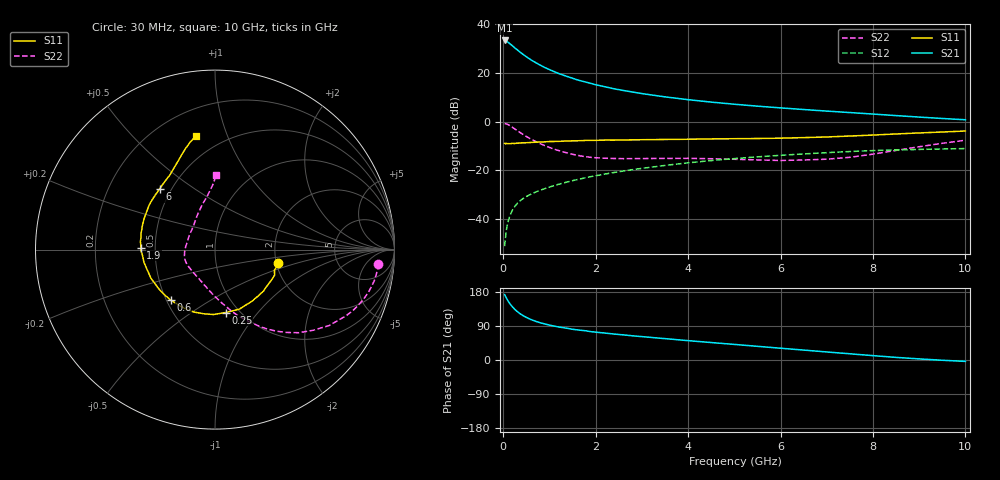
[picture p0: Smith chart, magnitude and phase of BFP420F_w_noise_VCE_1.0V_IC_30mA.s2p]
! Infineon Technologies  Discrete & RF Semiconductors
! BFP420F
! VCE =  1.0 V,  IC =  30 mA
! Common Emitter S-Parameters:  Sep 2011
# GHz  S  MA  R  50
!  f  S11  S21  S12  S22
! GHz  MAG  ANG  MAG  ANG  MAG  ANG  MAG  ANG
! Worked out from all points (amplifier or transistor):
!   54 points, 30 MHz to 10 GHz, reference 50 ohm
!   highest |S21| = 33.3 dB at 30 MHz (marker M1)
!   |S21| within 3 dB of that: start of sweep to 248 MHz
!   unconditionally stable (mu >= 1): 1.361 GHz to end of sweep
!   at 120 MHz: K = 0.36, MSG = 36.2 dB, |S12| = -40.1 dB
!   at 1.3 GHz: K = 0.99, MSG = 22.1 dB, |S12| = -25.2 dB
!   at 10 GHz: K = 1.21, MAG = 3.1 dB, |S12| = -11.0 dB
!   lowest NFmin = 1.81 dB at 450 MHz
!   S11 on the Smith chart (normalised r, x): 30 MHz: 2.04, -0.35; 250 MHz: 0.87, -0.70; 600 MHz: 0.53, -0.34; 1.9 GHz: 0.41, +0.01; 6 GHz: 0.43, +0.37; 10 GHz: 0.36, +0.78
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0.03  0.3586 -11.9  46.1 172.6  0.0028 86.0  0.9134 -5.0
0.07  0.358 -27.5  44.54 163.4  0.006 82.0  0.8966 -13.0
0.12  0.3532 -44.5  41.34 152.8  0.0099 78.1  0.852 -21.9
0.15  0.3541 -53.6  39.09 147.7  0.0122 75.5  0.8196 -26.6
0.2  0.3584 -67.9  35.74 140.3  0.0154 72.0  0.7642 -33.6
0.25  0.3557 -80.3  32.52 133.7  0.0181 69.4  0.7079 -39.4
0.35  0.3631 -100.3  27.29 123.4  0.0232 65.5  0.6107 -49.1
0.4  0.367 -108.3  25.04 119.3  0.0253 64.5  0.5692 -53.0
0.5  0.3688 -121.1  21.37 112.4  0.0291 62.8  0.4964 -59.7
0.6  0.3744 -131.4  18.46 106.8  0.0326 62.0  0.4378 -65.4
0.8  0.3826 -145.8  14.39 98.2  0.0392 61.6  0.354 -75.1
1  0.391 -155.8  11.65 92.2  0.0456 61.7  0.2956 -83.5
1.3  0.3976 -166.8  8.955 85.2  0.0552 61.6  0.2391 -95.4
1.7  0.4075 -177.0  6.777 78.2  0.068 61.1  0.196 -111.3
1.9  0.4138 178.5  6.065 74.8  0.0747 60.7  0.1852 -118.8
2.4  0.4177 170.7  4.707 68.4  0.0907 59.0  0.1755 -134.2
3.5  0.4309 156.6  3.217 56.4  0.1266 54.0  0.1763 -154.5
5.5  0.4508 137.4  2.075 36.1  0.1897 41.0  0.1642 174.1
6  0.458 132.4  1.912 31.1  0.2042 37.6  0.1598 163.5
7  0.4848 121.4  1.644 21.2  0.231 30.3  0.1698 139.7
8.5  0.5588 109.5  1.329 6.9  0.263 18.6  0.2573 106.5
10  0.6418 99.6  1.092 -3.7  0.2808 9.5  0.4154 88.9
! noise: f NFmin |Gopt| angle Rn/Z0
0.45  1.81  0.29  -175  0.14
0.9  1.82  0.3  -173  0.14
1.9  1.95  0.35  -164  0.14
2.4  2.01  0.35  -158  0.12
3.5  2.25  0.35  -146  0.18
